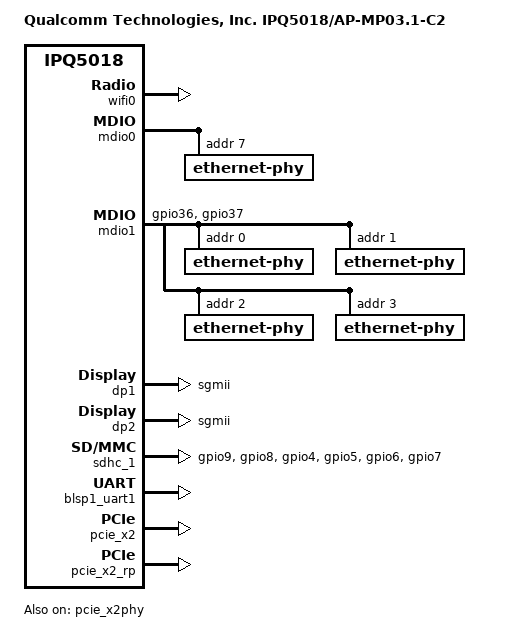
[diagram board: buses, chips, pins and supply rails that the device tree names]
/dts-v1/;
/* Copyright (c) 2018-2020, The Linux Foundation. All rights reserved.
 *
 * Copyright (c) 2021 Qualcomm Innovation Center, Inc. All rights reserved.
 *
 * Permission to use, copy, modify, and/or distribute this software for any
 * purpose with or without fee is hereby granted, provided that the above
 * copyright notice and this permission notice appear in all copies.
 *
 * THE SOFTWARE IS PROVIDED "AS IS" AND THE AUTHOR DISCLAIMS ALL WARRANTIES
 * WITH REGARD TO THIS SOFTWARE INCLUDING ALL IMPLIED WARRANTIES OF
 * MERCHANTABILITY AND FITNESS. IN NO EVENT SHALL THE AUTHOR BE LIABLE FOR
 * ANY SPECIAL, DIRECT, INDIRECT, OR CONSEQUENTIAL DAMAGES OR ANY DAMAGES
 * WHATSOEVER RESULTING FROM LOSS OF USE, DATA OR PROFITS, WHETHER IN AN
 * ACTION OF CONTRACT, NEGLIGENCE OR OTHER TORTIOUS ACTION, ARISING OUT OF
 * OR IN CONNECTION WITH THE USE OR PERFORMANCE OF THIS SOFTWARE.
 */

#include "ipq5018-mp03.1.dts"

/ {
	model = "Qualcomm Technologies, Inc. IPQ5018/AP-MP03.1-C2";
	compatible = "qcom,ipq5018-ap-mp03.1-c2", "qcom,ipq5018-mp03.1", "qcom,ipq5018";

	aliases {
		serial0 = &blsp1_uart1;
		ethernet0 = "/soc/dp1";
		ethernet1 = "/soc/dp2";
	};

	chosen {
		stdout-path = "serial0:115200n8";
		bootargs-append = " swiotlb=1";
	};
        soc {
                qpic_bam: dma@7984000{
                        status = "disabled";
                };

                nand: qpic-nand@79b0000 {
                        status = "disabled";
                };

		wifi0: wifi@c000000 {
			status = "ok";
		};

		mdio0: mdio@88000 {
			status = "ok";

			ethernet-phy@0 {
				reg = <7>;
			};
		};

		mdio1: mdio@90000 {
			status = "ok";
			pinctrl-0 = <&mdio1_pins>;
			pinctrl-names = "default";
			phy-reset-gpio = <&tlmm 39 0>;
			ethernet-phy@0 {
				reg = <0>;
			};

			ethernet-phy@1 {
				reg = <1>;
			};

			ethernet-phy@2 {
				reg = <2>;
			};

			ethernet-phy@3 {
				reg = <3>;
			};
		};

		ess-instance {
			num_devices = <0x2>;
			ess-switch@0x39c00000 {
				compatible = "qcom,ess-switch-ipq50xx";
				device_id = <0>;
				switch_mac_mode = <0xf>; /* mac mode for uniphy instance*/
				cmnblk_clk = "internal_96MHz"; /* cmnblk clk*/
				qcom,port_phyinfo {
					port@0 {
						port_id = <1>;
						phy_address = <7>;
					};
					port@1 {
						port_id = <2>;
						forced-speed = <1000>;
						forced-duplex = <1>;
					};
				};
				led_source@0 {
					source = <0>;
					mode = "normal";
					speed = "all";
					blink_en = "enable";
					active = "high";
				};
			};
			ess-switch1@1 {
				compatible = "qcom,ess-switch-qca83xx";
				device_id = <1>;
				switch_access_mode = "mdio";
				mdio-bus = <&mdio1>;
				reset_gpio = <&tlmm 0x27 0>;
				switch_cpu_bmp = <0x40>;  /* cpu port bitmap */
				switch_lan_bmp = <0x1e>; /* lan port bitmap */
				switch_wan_bmp = <0x0>;  /* wan port bitmap */
				qca,ar8327-initvals = <
						0x00004 0x7600000   /* PAD0_MODE */
						0x00008 0x1000000   /* PAD5_MODE */
						0x0000c 0x80        /* PAD6_MODE */
						0x00010 0x2613a0    /* PORT6 FORCE MODE*/
						0x000e4 0xaa545     /* MAC_POWER_SEL */
						0x000e0 0xc74164de  /* SGMII_CTRL */
						0x0007c 0x4e        /* PORT0_STATUS */
						0x00094 0x4e        /* PORT6_STATUS */
				>;
				qcom,port_phyinfo {
					port@0 {
						port_id = <1>;
						phy_address = <0>;
					};
					port@1 {
						port_id = <2>;
						phy_address = <1>;
					};
					port@2 {
						port_id = <3>;
						phy_address = <2>;
					};
					port@3 {
						port_id = <4>;
						phy_address = <3>;
					};
				};
			};
		};

		dp1 {
			device_type = "network";
			compatible = "qcom,nss-dp";
			clocks = <&gcc GCC_SNOC_GMAC0_AXI_CLK>;
			clock-names = "nss-snoc-gmac-axi-clk";
			qcom,id = <1>;
			reg = <0x39C00000 0x10000>;
			interrupts = <GIC_SPI 101 IRQ_TYPE_LEVEL_HIGH>;
			qcom,mactype = <2>;
			qcom,link-poll = <1>;
			qcom,phy-mdio-addr = <7>;
			mdio-bus = <&mdio0>;
			local-mac-address = [000000000000];
			phy-mode = "sgmii";
			qcom,rx-page-mode = <0>;
		};

		dp2 {
			device_type = "network";
			compatible = "qcom,nss-dp";
			clocks = <&gcc GCC_SNOC_GMAC1_AXI_CLK>;
			clock-names = "nss-snoc-gmac-axi-clk";
			qcom,id = <2>;
			reg = <0x39D00000 0x10000>;
			interrupts = <GIC_SPI 109 IRQ_TYPE_LEVEL_HIGH>;
			qcom,mactype = <2>;
			local-mac-address = [000000000000];
			phy-mode = "sgmii";
			qcom,rx-page-mode = <0>;
		};
	};
};
&tlmm {
	pinctrl-0 = <&serial_1_pins &phy_led_pins>;
	pinctrl-names = "default";

	serial_1_pins: serial1-pinmux {
		pins = "gpio31", "gpio32", "gpio33", "gpio34";
		function = "blsp1_uart1";
		drive-strength = <8>;
		bias-pull-down;
	};

	mdio1_pins: mdio_pinmux {
		mux_0 {
			pins = "gpio36";
			function = "mdc";
			drive-strength = <8>;
			bias-pull-up;
		};
		mux_1 {
			pins = "gpio37";
			function = "mdio";
			drive-strength = <8>;
			bias-pull-up;
		};
	};

	phy_led_pins: phy_led_pins {
		gephy_led_pin {
			pins = "gpio46";
			function = "led0";
			drive-strength = <8>;
			bias-pull-down;
		};
	};
       emmc_pins: emmc_pins {
                emmc_clk {
                                pins = "gpio9";
                                function = "sdc1_clk";
                                drive-strength = <8>;
                                bias-disable;
                        };

                emmc_cmd {
                                pins = "gpio8";
                                function = "sdc1_cmd";
                                drive-strength = <8>;
                                bias-pull-up;
                        };

                emmc_data {
                                pins = "gpio4", "gpio5", "gpio6", "gpio7";
                                function = "sdc1_data";
                                drive-strength = <8>;
                                bias-disable;
                        };
        };
};

&sdhc_1 {
        pinctrl-0 = <&emmc_pins>;
        pinctrl-names = "default";
        status = "ok";
};



&blsp1_uart1 {
	status = "ok";
};

&pcie_x2 {
        status = "ok";
        perst-gpio = <&tlmm 15 GPIO_ACTIVE_LOW>;
};

&pcie_x2phy {
	status = "ok";
};

&pcie_x2_rp {
	status = "ok";
	mhi_1: qcom,mhi@1 {
		reg = <0 0 0 0 0 >;
		qrtr_instance_id = <0x20>;
		qti,disable-rddm-prealloc;
		qti,rddm-seg-len = <0x1000>;
		#address-cells = <0x2>;
		#size-cells = <0x2>;
#if defined(__CNSS2__)
		memory-region = <0>,<&mhi_region1>;
#else
		qrtr_node_id = <0x20>;
		base-addr = <0x4CC00000>;
		m3-dump-addr = <0x4E000000>;
		etr-addr = <0x4E100000>;
		qcom,caldb-addr = <0x4E200000>;
		qcom,tgt-mem-mode = <0x1>;
		mhi,max-channels = <30>;
		mhi,timeout = <10000>;
#endif
       };
};
